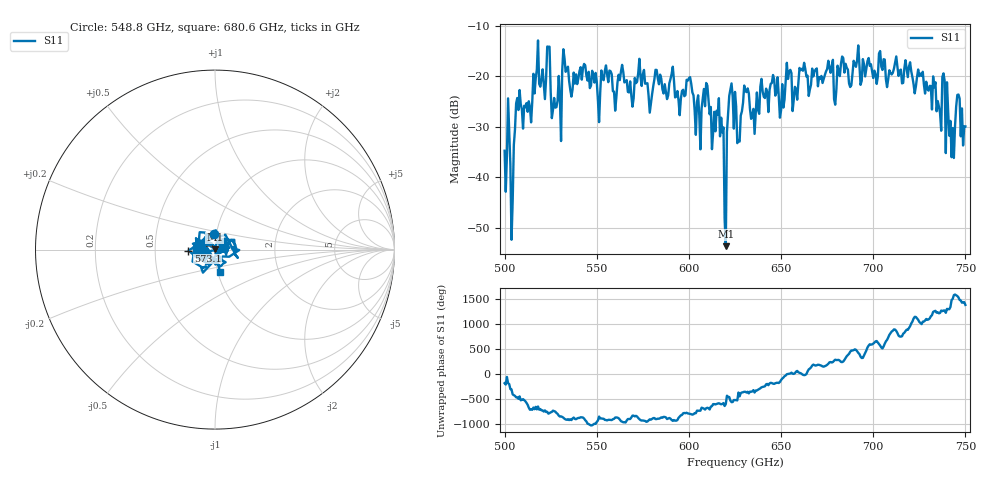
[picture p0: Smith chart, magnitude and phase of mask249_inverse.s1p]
!Created with skrf (http://scikit-rf.org).
# GHz S MA R 50.0
!freq magS11 angS11
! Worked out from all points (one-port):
!   401 points, 500 GHz to 750 GHz, reference 50 ohm
!   lowest |S11| = -53.7 dB at 620 GHz (marker M1), VSWR 1.00, Z = 49.9 + j0.173 ohm
!   |S11| at or under -10 dB: start of sweep to end of sweep
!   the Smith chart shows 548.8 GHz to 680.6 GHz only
!   S11 on the Smith chart (normalised r, x): 548.8 GHz: 0.98, +0.17; 573.1 GHz: 0.74, -0.01; 680.6 GHz: 1.03, -0.26
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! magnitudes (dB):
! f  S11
! 500 GHz  -34.8
! 504.4 GHz  -44.8
! 506.9 GHz  -24.3
! 513.8 GHz  -26.2
! 516.9 GHz  -20.5
! 523.8 GHz  -14.2
! 526.9 GHz  -24.3
! 531.2 GHz  -18.9
! 548.8 GHz  -21.3
! 562.5 GHz  -20.8
! 573.1 GHz  -16.6
! 593.8 GHz  -23.0
! 600 GHz  -20.4
! 605 GHz  -23.8
! 609.4 GHz  -21.4
! 617.5 GHz  -28.2
! 618.8 GHz  -30.2
! 620 GHz  -53.7
! 622.5 GHz  -22.7
! 625 GHz  -23.1
! 656.2 GHz  -26.9
! 680.6 GHz  -17.9
! 687.5 GHz  -22.2
! 718.8 GHz  -20.2
! 738.8 GHz  -20.9
! 742.5 GHz  -36.0
! 745.6 GHz  -23.7
! 750 GHz  -30.0
